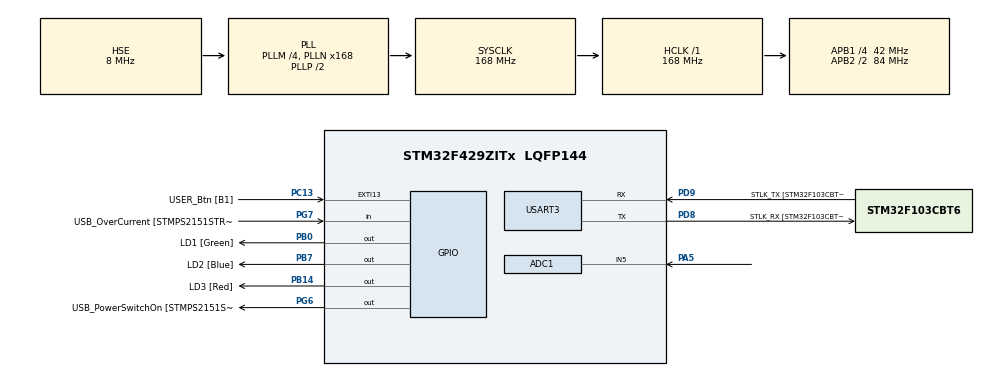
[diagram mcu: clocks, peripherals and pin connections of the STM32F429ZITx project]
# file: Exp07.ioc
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ADC1.Channel-3\#ChannelRegularConversion=ADC_CHANNEL_5
ADC1.ExternalTrigConv=ADC_EXTERNALTRIGCONV_T2_TRGO
ADC1.NbrOfConversionFlag=1
ADC1.Rank-3\#ChannelRegularConversion=1
ADC1.SamplingTime-3\#ChannelRegularConversion=ADC_SAMPLETIME_3CYCLES
ADC1.master=1
Mcu.Family=STM32F4
Mcu.Name=STM32F429ZITx
Mcu.Package=LQFP144
NVIC.ADC_IRQn=true\:0\:0\:false\:false\:true\:true\:true
NVIC.PriorityGroup=NVIC_PRIORITYGROUP_4
NVIC.USART3_IRQn=true\:1\:0\:true\:false\:true\:true\:true
PA1.GPIO_Label=RMII_REF_CLK [LAN8742A-CZ-TR_REFCLK0]
PA1.Signal=ETH_REF_CLK
PA10.GPIO_Label=USB_ID
PA10.Signal=USB_OTG_FS_ID
PA11.GPIO_Label=USB_DM
PA11.Signal=USB_OTG_FS_DM
PA12.GPIO_Label=USB_DP
PA12.Signal=USB_OTG_FS_DP
PA13.GPIO_Label=TMS
PA13.Mode=Serial_Wire
PA13.Signal=SYS_JTMS-SWDIO
PA14.GPIO_Label=TCK
PA14.Mode=Serial_Wire
PA14.Signal=SYS_JTCK-SWCLK
PA2.GPIO_Label=RMII_MDIO [LAN8742A-CZ-TR_MDIO]
PA2.Signal=ETH_MDIO
PA5.Signal=ADCx_IN5
PA7.GPIO_Label=RMII_CRS_DV [LAN8742A-CZ-TR_CRS_DV]
PA7.Signal=ETH_CRS_DV
PA8.GPIO_Label=USB_SOF [TP1]
PA8.Signal=USB_OTG_FS_SOF
PA9.GPIO_Label=USB_VBUS
PA9.Signal=USB_OTG_FS_VBUS
PB0.GPIO_Label=LD1 [Green]
PB0.Signal=GPIO_Output
PB13.GPIO_Label=RMII_TXD1 [LAN8742A-CZ-TR_TXD1]
PB13.Signal=ETH_TXD1
PB14.GPIO_Label=LD3 [Red]
PB14.Signal=GPIO_Output
PB7.GPIO_Label=LD2 [Blue]
PB7.Signal=GPIO_Output
PC1.GPIO_Label=RMII_MDC [LAN8742A-CZ-TR_MDC]
PC1.Signal=ETH_MDC
PC13.GPIO_Label=USER_Btn [B1]
PC13.Signal=GPXTI13
PC14/OSC32_IN.Mode=LSE-External-Oscillator
PC14/OSC32_IN.Signal=RCC_OSC32_IN
PC15/OSC32_OUT.Mode=LSE-External-Oscillator
PC15/OSC32_OUT.Signal=RCC_OSC32_OUT
PC4.GPIO_Label=RMII_RXD0 [LAN8742A-CZ-TR_RXD0]
PC4.Signal=ETH_RXD0
PC5.GPIO_Label=RMII_RXD1 [LAN8742A-CZ-TR_RXD1]
PC5.Signal=ETH_RXD1
PD8.GPIO_Label=STLK_RX [STM32F103CBT6_PA3]
PD8.Mode=Asynchronous
PD8.Signal=USART3_TX
PD9.GPIO_Label=STLK_TX [STM32F103CBT6_PA2]
PD9.Mode=Asynchronous
PD9.Signal=USART3_RX
PG11.GPIO_Label=RMII_TX_EN [LAN8742A-CZ-TR_TXEN]
PG11.Signal=ETH_TX_EN
PG13.GPIO_Label=RMII_TXD0 [LAN8742A-CZ-TR_TXD0]
PG13.Signal=ETH_TXD0
PG6.GPIO_Label=USB_PowerSwitchOn [STMPS2151STR_EN]
PG6.Signal=GPIO_Output
PG7.GPIO_Label=USB_OverCurrent [STMPS2151STR_FAULT]
PG7.Signal=GPIO_Input
PH0/OSC_IN.GPIO_Label=MCO [STM32F103CBT6_PA8]
PH0/OSC_IN.Mode=HSE-External-Clock-Source
PH0/OSC_IN.Signal=RCC_OSC_IN
PH1/OSC_OUT.Mode=HSE-External-Clock-Source
PH1/OSC_OUT.Signal=RCC_OSC_OUT
ProjectManager.HeapSize=0x200
ProjectManager.StackSize=0x400
ProjectManager.TargetToolchain=MDK-ARM V5.27
RCC.48MHZClocksFreq_Value=48000000
RCC.AHBFreq_Value=168000000
RCC.APB1CLKDivider=RCC_HCLK_DIV4
RCC.APB1Freq_Value=42000000
RCC.APB1TimFreq_Value=84000000
RCC.APB2CLKDivider=RCC_HCLK_DIV2
RCC.APB2Freq_Value=84000000
RCC.APB2TimCLKDivider=2
RCC.APB2TimFreq_Value=168000000
RCC.CortexFreq_Value=168000000
RCC.HCLKFreq_Value=168000000
RCC.HSE_VALUE=8000000
RCC.HSI_VALUE=16000000
RCC.PLLM=4
RCC.PLLMUL=RCC_PLL_MUL9
RCC.PLLN=168
RCC.PLLQ=7
RCC.PLLSourceVirtual=RCC_PLLSOURCE_HSE
RCC.PRESCALERUSB=RCC_USBCLKSOURCE_PLL_DIV1_5
RCC.SYSCLKFreq_VALUE=168000000
RCC.SYSCLKSource=RCC_SYSCLKSOURCE_PLLCLK
RCC.SYSCLKSourceVirtual=RCC_SYSCLKSOURCE_PLLCLK
RCC.USBFreq_Value=48000000
RCC.VCOOutputFreq_Value=336000000
SH.ADCx_IN5.0=ADC1_IN5,IN5
TIM2.Period=10
TIM2.TIM_MasterOutputTrigger=TIM_TRGO_UPDATE
USART3.VirtualMode=VM_ASYNC
VP_TIM2_VS_ClockSourceINT.Mode=Internal
board=NUCLEO-F429ZI

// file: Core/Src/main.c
/* USER CODE BEGIN Header */
/**
  ******************************************************************************
  * @file           : main.c
  * @brief          : Main program body
  ******************************************************************************
  * @attention
  *
  * <h2><center>&copy; Copyright (c) 2021 STMicroelectronics.
  * All rights reserved.</center></h2>
  *
  * This software component is licensed by ST under BSD 3-Clause license,
  * the "License"; You may not use this file except in compliance with the
  * License. You may obtain a copy of the License at:
  *                        opensource.org/licenses/BSD-3-Clause
  *
  ******************************************************************************
  */
/* USER CODE END Header */
#include "main.h"
#include "adc.h"
#include "tim.h"
#include "usart.h"
#include "gpio.h"

/* USER CODE BEGIN PV */
volatile uint16_t pa5_val;
volatile uint16_t vrefint;
volatile uint16_t adc_index;
volatile uint16_t buffer[2000];
/* USER CODE END PV */

void SystemClock_Config(void);

int main(void)
{

  /* MCU Configuration--------------------------------------------------------*/

  /* Reset
	of all peripherals, Initializes the Flash interface and the Systick. */
  HAL_Init();

  /* Configure the system clock */
  SystemClock_Config();

  /* Initialize all configured peripherals */
  MX_GPIO_Init();
  MX_ADC1_Init();
  MX_USART3_UART_Init();
  MX_TIM2_Init();
  /* USER CODE BEGIN 2 */

	//Enable UART and RX interrupt
	USART3->SR = 0x0;
	USART3->CR1 |= USART_CR1_UE;
	USART3->CR1 |= USART_CR1_RXNEIE;
	USART3->CR1 &= ~USART_CR1_TCIE;

	//Turn on ADC
	ADC1->CR2 |= ADC_CR2_ADON;

	//Select 1 conversions for each sequence
	ADC1->SQR1 = 0;

	//Select channel 5 (PA5)
	ADC1->SQR3 = 0x0;
	ADC1->SQR3 |= ADC_SQR3_SQ1_0;
	ADC1->SQR3 |= ADC_SQR3_SQ1_2;

	//Set EOC flag at the end of each conversion
	ADC1->CR2 |= ADC_CR2_EOCS;

	//Enable ADC interrupt
	ADC1->CR1 |= ADC_CR1_EOCIE;
	//ADC1->CR1 |= ADC_CR1_OVRIE;

	//Turn on scan mode
	ADC1->CR1 |= ADC_CR1_SCAN;

  /* USER CODE END 2 */

  /* Infinite loop */
  while (1)
  {

  }
}

void SystemClock_Config(void)
{
  RCC_OscInitTypeDef RCC_OscInitStruct = {0};
  RCC_ClkInitTypeDef RCC_ClkInitStruct = {0};

  /** Configure the main internal regulator output voltage
  */
  __HAL_RCC_PWR_CLK_ENABLE();
  __HAL_PWR_VOLTAGESCALING_CONFIG(PWR_REGULATOR_VOLTAGE_SCALE1);
  /** Initializes the RCC Oscillators according to the specified parameters
  * in the RCC_OscInitTypeDef structure.
  */
  RCC_OscInitStruct.OscillatorType = RCC_OSCILLATORTYPE_HSE;
  RCC_OscInitStruct.HSEState = RCC_HSE_BYPASS;
  RCC_OscInitStruct.PLL.PLLState = RCC_PLL_ON;
  RCC_OscInitStruct.PLL.PLLSource = RCC_PLLSOURCE_HSE;
  RCC_OscInitStruct.PLL.PLLM = 4;
  RCC_OscInitStruct.PLL.PLLN = 168;
  RCC_OscInitStruct.PLL.PLLP = RCC_PLLP_DIV2;
  RCC_OscInitStruct.PLL.PLLQ = 7;
  if (HAL_RCC_OscConfig(&RCC_OscInitStruct) != HAL_OK)
  {
    Error_Handler();
  }
  /** Initializes the CPU, AHB and APB buses clocks
  */
  RCC_ClkInitStruct.ClockType = RCC_CLOCKTYPE_HCLK|RCC_CLOCKTYPE_SYSCLK
                              |RCC_CLOCKTYPE_PCLK1|RCC_CLOCKTYPE_PCLK2;
  RCC_ClkInitStruct.SYSCLKSource = RCC_SYSCLKSOURCE_PLLCLK;
  RCC_ClkInitStruct.AHBCLKDivider = RCC_SYSCLK_DIV1;
  RCC_ClkInitStruct.APB1CLKDivider = RCC_HCLK_DIV4;
  RCC_ClkInitStruct.APB2CLKDivider = RCC_HCLK_DIV2;

  if (HAL_RCC_ClockConfig(&RCC_ClkInitStruct, FLASH_LATENCY_5) != HAL_OK)
  {
    Error_Handler();
  }
}

void Error_Handler(void)
{
  __disable_irq();
  while (1)
  {
  }
}

/************************ (C) COPYRIGHT STMicroelectronics *****END OF FILE****/
